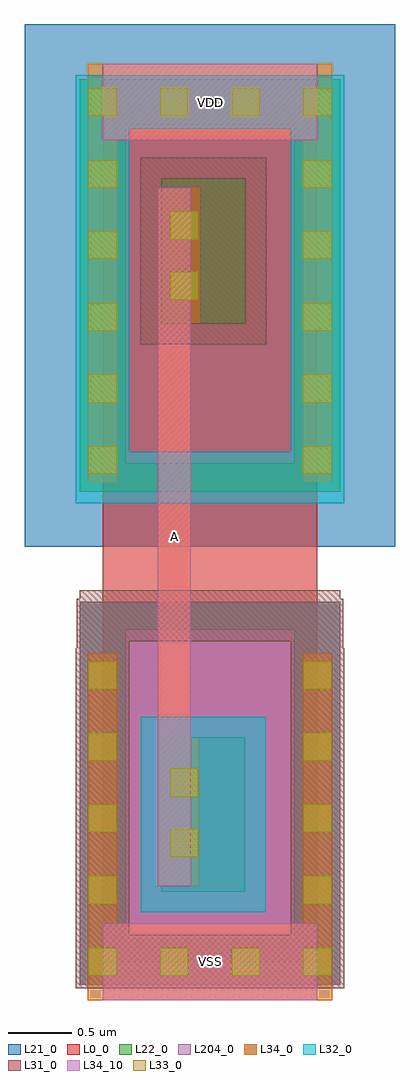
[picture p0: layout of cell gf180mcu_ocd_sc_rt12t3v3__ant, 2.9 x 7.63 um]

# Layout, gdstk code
import gdstk
lib = gdstk.Library(unit=1e-6, precision=1e-09)
def R(c, l, rs):  # rectangles x0, y0, x1, y1
    for r in rs: c.add(gdstk.rectangle(r[:2], r[2:], *l))
def A(c, l, x, y, w, h, nx, ny, dx, dy):  # array of equal rectangles
    R(c, l, [(x+i*dx, y+j*dy, x+i*dx+w, y+j*dy+h) for i in range(nx) for j in range(ny)])
L0_0 = (0, 0)
L21_0 = (21, 0)
L22_0 = (22, 0)
L31_0 = (31, 0)
L32_0 = (32, 0)
L33_0 = (33, 0)
L34_0 = (34, 0)
L34_10 = (34, 10)
L204_0 = (204, 0)

gf180mcu_ocd_sc_rt12t3v3 = lib.new_cell('gf180mcu_ocd_sc_rt12t3v3__ant')
R(gf180mcu_ocd_sc_rt12t3v3, L0_0, [(0,0,1.68,6.72)])
R(gf180mcu_ocd_sc_rt12t3v3, L21_0, [(-0.61,3.245,2.29,7.33)])
R(gf180mcu_ocd_sc_rt12t3v3, L22_0, [(-0.18,-0.18,1.86,0.18), (-0.18,0.18,0.18,2.595), (1.5,0.18,1.86,2.595), (0.46,0.545,1.115,1.755), (-0.18,2.595,1.86,2.815), (-0.18,3.675,1.86,3.895), (-0.18,3.895,0.18,6.54), (1.5,3.895,1.86,6.54), (0.46,4.985,1.12,6.125), (-0.18,6.54,1.86,6.9)])
R(gf180mcu_ocd_sc_rt12t3v3, L31_0, [(-0.21,-0.21,1.89,0.21), (-0.21,0.21,0.21,2.45), (1.47,0.21,1.89,2.45), (-0.2,2.45,0.21,2.505), (1.47,2.45,1.88,2.505), (-0.2,2.505,1.88,2.835), (-0.18,2.835,1.86,2.905), (0.3,4.825,1.28,6.285)])
R(gf180mcu_ocd_sc_rt12t3v3, L32_0, [(0.3,0.385,1.275,1.915), (-0.21,3.585,1.89,3.985), (-0.21,3.985,0.21,6.51), (1.47,3.985,1.89,6.51), (-0.21,6.51,1.89,6.93)])
A(gf180mcu_ocd_sc_rt12t3v3, L33_0, -0.11, -0.11, 0.22, 0.22, 4, 2, 0.56, 6.72)
A(gf180mcu_ocd_sc_rt12t3v3, L33_0, -0.11, 0.45, 0.22, 0.22, 1, 4, 0, 0.56)
A(gf180mcu_ocd_sc_rt12t3v3, L33_0, 1.57, 0.45, 0.22, 0.22, 1, 4, 0, 0.56)
A(gf180mcu_ocd_sc_rt12t3v3, L33_0, -0.11, 3.81, 0.22, 0.22, 1, 5, 0, 0.56)
A(gf180mcu_ocd_sc_rt12t3v3, L33_0, 1.57, 3.81, 0.22, 0.22, 1, 5, 0, 0.56)
R(gf180mcu_ocd_sc_rt12t3v3, L33_0, [(0.53,0.82,0.75,1.04), (0.53,1.29,0.75,1.51), (0.53,5.175,0.75,5.395), (0.53,5.645,0.75,5.865)])
R(gf180mcu_ocd_sc_rt12t3v3, L34_0, [(-0.115,-0.3,1.795,0.3), (-0.115,0.3,0.115,2.41), (1.565,0.3,1.795,2.41), (0.43,0.59,0.755,1.745), (0.43,1.745,0.69,4.995), (-0.115,3.745,0.115,6.42), (1.565,3.75,1.795,6.42), (0.43,4.995,0.755,6.05), (-0.115,6.42,1.795,7.02)])
R(gf180mcu_ocd_sc_rt12t3v3, L34_10, [(0,-0.3,1.68,0.3), (0.43,0.59,0.69,6.05), (0,6.42,1.68,7.02)])
R(gf180mcu_ocd_sc_rt12t3v3, L204_0, [(0,-0.3,1.68,-0.18), (-0.18,-0.18,1.86,2.815)])
gf180mcu_ocd_sc_rt12t3v3.add(gdstk.Label('A', (0.56,3.32), layer=34, texttype=10))
gf180mcu_ocd_sc_rt12t3v3.add(gdstk.Label('VDD', (0.84,6.72), layer=34, texttype=10))
gf180mcu_ocd_sc_rt12t3v3.add(gdstk.Label('VSS', (0.84,0), layer=34, texttype=10))

lib.write_gds('gf180mcu_ocd_sc_rt12t3v3__ant.gds')
